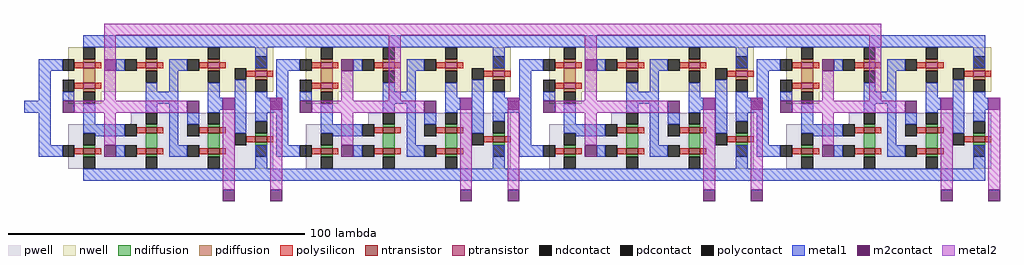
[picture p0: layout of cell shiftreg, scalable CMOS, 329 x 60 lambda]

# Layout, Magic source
magic
tech scmos
<< metal1 >>
rect 158 52 188 56
rect 158 7 187 11
<< metal2 >>
rect 27 56 31 60
rect 123 56 193 60
use shiftreg2  shiftreg2_0
transform 1 0 0 0 1 7
box 0 -7 167 53
use shiftreg2  shiftreg2_1
transform 1 0 162 0 1 7
box 0 -7 167 53
<< end >>

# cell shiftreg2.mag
magic
tech scmos
<< metal1 >>
rect 76 45 106 49
rect 77 0 105 4
<< metal2 >>
rect 27 49 127 53
rect 27 32 31 49
rect 67 -3 71 28
rect 83 -3 87 28
rect 123 24 127 49
rect 147 -3 151 28
rect 163 -3 167 28
<< m2contact >>
rect 67 -7 71 -3
rect 83 -7 87 -3
rect 147 -7 151 -3
rect 163 -7 167 -3
use TSPCff  TSPCff_0
transform 1 0 32 0 1 35
box -32 -35 55 14
use TSPCff  TSPCff_1
transform 1 0 112 0 1 35
box -32 -35 55 14
<< end >>

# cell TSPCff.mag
magic
tech scmos
<< pwell >>
rect 4 -16 52 -12
rect -17 -31 52 -16
<< nwell >>
rect -17 -5 52 10
rect -17 -9 -6 -5
<< polysilicon >>
rect -15 3 -12 5
rect -8 3 -6 5
rect 6 3 9 5
rect 13 3 15 5
rect 27 3 30 5
rect 34 3 36 5
rect -15 -4 -12 -2
rect -8 -4 -6 -2
rect 6 -19 9 -17
rect 13 -19 15 -17
rect -15 -26 -12 -24
rect -8 -26 -6 -24
rect 27 -19 30 -17
rect 34 -19 36 -17
rect 6 -26 9 -24
rect 13 -26 15 -24
rect 27 -26 30 -24
rect 34 -26 36 -24
<< ndiffusion >>
rect 9 -17 13 -16
rect -12 -24 -8 -23
rect -12 -27 -8 -26
rect 9 -24 13 -19
rect 30 -17 34 -16
rect 9 -27 13 -26
rect 30 -24 34 -19
rect 30 -27 34 -26
<< pdiffusion >>
rect -12 5 -8 6
rect -12 -2 -8 3
rect 9 5 13 6
rect 9 2 13 3
rect 30 5 34 6
rect 30 2 34 3
rect -12 -5 -8 -4
<< metal1 >>
rect -12 10 50 14
rect -27 2 -19 6
rect -1 2 2 6
rect 17 2 23 6
rect 46 3 50 10
rect -27 -8 -23 2
rect -32 -12 -23 -8
rect 9 -5 13 -2
rect 17 -5 20 2
rect -19 -8 -15 -5
rect -27 -23 -23 -12
rect -12 -16 -8 -9
rect 9 -9 20 -5
rect 30 -7 34 -2
rect 9 -12 13 -9
rect -12 -19 2 -16
rect -8 -20 2 -19
rect 17 -23 20 -9
rect 23 -16 27 -12
rect 30 -11 35 -7
rect 39 -11 41 -7
rect 46 -11 51 -7
rect 30 -12 34 -11
rect -27 -27 -19 -23
rect -1 -27 2 -23
rect 17 -27 23 -23
rect 46 -31 50 -23
rect -12 -35 50 -31
<< metal2 >>
rect -5 -8 -1 2
rect -15 -12 23 -8
rect -5 -23 -1 -12
<< ntransistor >>
rect 9 -19 13 -17
rect -12 -26 -8 -24
rect 30 -19 34 -17
rect 9 -26 13 -24
rect 30 -26 34 -24
<< ptransistor >>
rect -12 3 -8 5
rect 9 3 13 5
rect 30 3 34 5
rect -12 -4 -8 -2
<< polycontact >>
rect -19 2 -15 6
rect -19 -5 -15 -1
rect 2 2 6 6
rect 23 2 27 6
rect 2 -20 6 -16
rect -19 -27 -15 -23
rect 2 -27 6 -23
rect 23 -20 27 -16
rect 23 -27 27 -23
<< ndcontact >>
rect 9 -16 13 -12
rect 30 -16 34 -12
rect -12 -23 -8 -19
rect -12 -31 -8 -27
rect 9 -31 13 -27
rect 30 -31 34 -27
<< pdcontact >>
rect -12 6 -8 10
rect 9 6 13 10
rect 30 6 34 10
rect 9 -2 13 2
rect 30 -2 34 2
rect -12 -9 -8 -5
<< m2contact >>
rect -5 2 -1 6
rect -19 -12 -15 -8
rect 23 -12 27 -8
rect 35 -11 39 -7
rect 51 -11 55 -7
rect -5 -27 -1 -23
use inverter  inverter_0
transform 1 0 61 0 1 -7
box -22 -20 -9 14
<< end >>

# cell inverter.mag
magic
tech scmos
<< pwell >>
rect -20 -20 -9 -8
<< nwell >>
rect -20 2 -9 14
<< polysilicon >>
rect -18 7 -15 9
rect -11 7 -9 9
rect -18 -15 -15 -13
rect -11 -15 -9 -13
<< ndiffusion >>
rect -15 -13 -11 -12
rect -15 -16 -11 -15
<< pdiffusion >>
rect -15 9 -11 10
rect -15 6 -11 7
<< metal1 >>
rect -22 -12 -18 6
rect -15 -8 -11 2
<< ntransistor >>
rect -15 -15 -11 -13
<< ptransistor >>
rect -15 7 -11 9
<< polycontact >>
rect -22 6 -18 10
rect -22 -16 -18 -12
<< ndcontact >>
rect -15 -12 -11 -8
rect -15 -20 -11 -16
<< pdcontact >>
rect -15 10 -11 14
rect -15 2 -11 6
<< end >>
